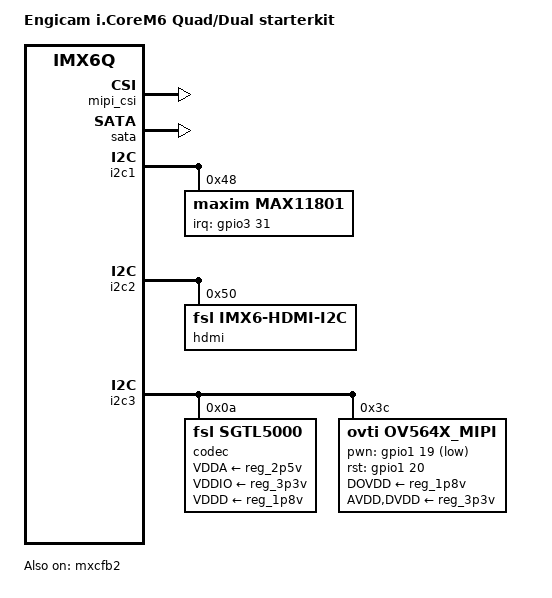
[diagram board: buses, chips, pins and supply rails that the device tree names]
/*
 * Copyright (C) 2013 Freescale Semiconductor, Inc.
 *
 * This program is free software; you can redistribute it and/or modify
 * it under the terms of the GNU General Public License version 2 as
 * published by the Free Software Foundation.
 */

/dts-v1/;

#include "imx6q.dtsi"
#include "imx6qdl-icore.dtsi"

/ {
	model = "Engicam i.CoreM6 Quad/Dual starterkit";
	compatible = "fsl,imx6-icore", "fsl,imx6q";
};

&ldb {
	ipu_id = <0>; 
	sec_ipu_id = <0>;
};

&mipi_csi {
	status = "okay";
	ipu_id = <0>;
	csi_id = <1>;
	v_channel = <0>;
	lanes = <2>;
};

&mxcfb1 {
	status = "disabled";
};

&mxcfb2 {
	status = "okay";
};

/* To be enabled for PCI peripheral.
   Please enable also the PCI support kernel options:
   CONFIG_PCI and PCI_IMX6
&pcie {
	status = "okay";
};
*/

&sata {
	status = "okay";
};

&i2c1 {

	max11801@48 {
		compatible = "maxim,max11801";
		reg = <0x48>;
		interrupt-parent = <&gpio3>;
		interrupts = <31 2>;
		work-mode = <0>;/*DCM mode*/
	};

};

&i2c2 {

	hdmi: edid@50 {
		compatible = "fsl,imx6-hdmi-i2c";
		reg = <0x50>;
	};
};


&i2c3 {

	codec: sgtl5000@0a {
		compatible = "fsl,sgtl5000";
		reg = <0x0a>;
		clocks = <&clks 201>;
		VDDA-supply = <&reg_2p5v>;
		VDDIO-supply = <&reg_3p3v>;
		VDDD-supply = <&reg_1p8v>;
	};

	ov564x_mipi: ov564x_mipi@3c { /* i2c2 driver */
		compatible = "ovti,ov564x_mipi";
		reg = <0x3c>;
		clocks = <&clks 201>;
		clock-names = "csi_mclk";
		DOVDD-supply = <&reg_1p8v>; /* 1.8v */
		AVDD-supply = <&reg_3p3v>;  /* 3.3v */
		DVDD-supply = <&reg_3p3v>;  /* 3.3v*/
		pwn-gpios = <&gpio1 19 1>;   /* active low: SD1_CLK */
		rst-gpios = <&gpio1 20 0>;   /* active high: SD1_DAT2 */
		csi_id = <1>;
		mclk = <24000000>;
		mclk_source = <0>;
	};
	
};

&iomuxc {
	touchpanel{
		pinctrl_edt_ft5x06:  edt-ft5x06grp  {
			fsl,pins = <
				MX6QDL_PAD_CSI0_DAT12__GPIO5_IO30 0x1b0b0 /*interrupt*/ 
				MX6QDL_PAD_CSI0_DAT14__GPIO6_IO00 0x1b0b0 /*reset edt*/
			>;
		};
	};
};

&iomuxc {
	pinctrl-names = "default";
	pinctrl-0 = <&pinctrl_hog>;

	hog {
		pinctrl_hog: hoggrp {
			fsl,pins = <
				MX6QDL_PAD_GPIO_2__GPIO1_IO02 0x1f059
				MX6QDL_PAD_EIM_D19__GPIO3_IO19 0x1f059 /* not used pin for ADV7180 driver compatibility */
			>;
		};
	};
};

